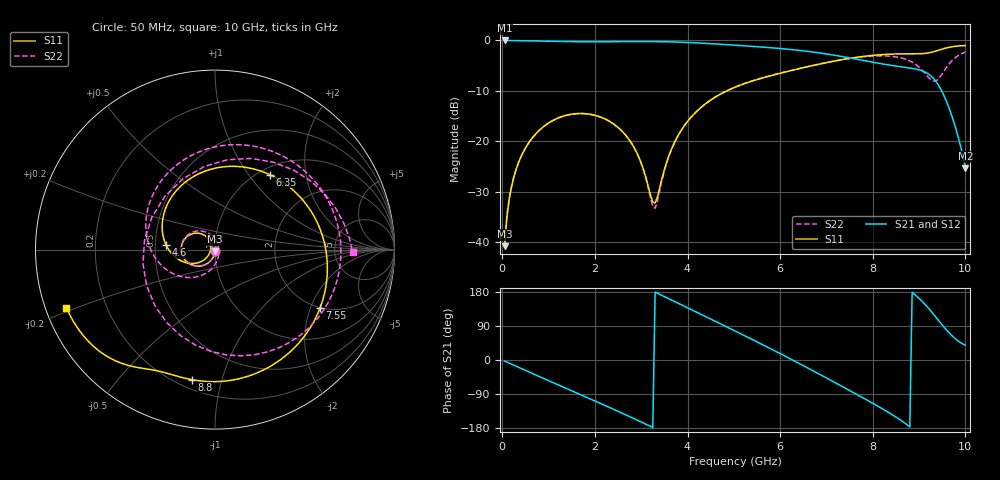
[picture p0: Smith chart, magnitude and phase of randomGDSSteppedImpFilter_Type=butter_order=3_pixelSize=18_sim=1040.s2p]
! freq	dB(S11)	phase(S11)	dB(S12)	phase(S12)
!  dB(S21)	phase(S21)	dB(S22)	phase(S22)
!S-par simulation data
#  GHz  S  DB  R 50
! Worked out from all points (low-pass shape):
!   200 points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, 50 MHz to 10 GHz, reference 50 ohm
!   highest |S21| = -0.01 dB at 50 MHz (marker M1); lowest = -25.3 dB at 10 GHz (marker M2)
!   |S21| within 3 dB of the highest: start of sweep to 7.216 GHz
!   lowest |S11| = -40.8 dB at 50 MHz (marker M3), VSWR 1.02, Z = 50 - j0.908 ohm
!   |S11| at or under -10 dB: start of sweep to 4.852 GHz
!   |S22| runs from -40.8 to -2.3 dB; largest |S21 - S12| = 0
!   S11 on the Smith chart (normalised r, x): 50 MHz: 1.00, -0.02; 4.6 GHz: 0.57, +0.03; 6.35 GHz: 1.11, +1.27; 7.55 GHz: 1.99, -2.34; 8.8 GHz: 0.25, -0.81; 10 GHz: 0.06, -0.19
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0.05  -40.83 -91.5  -0.01 -2.8  -0.01 -2.8  -40.83 -91.5
0.2  -28.98 -100.9  -0.02 -11.0  -0.02 -11.0  -28.97 -101.0
0.5  -21.36 -117.8  -0.07 -27.4  -0.07 -27.4  -21.36 -118.0
1.15  -15.62 -152.9  -0.19 -62.6  -0.19 -62.6  -15.62 -153.7
1.75  -14.52 175.6  -0.27 -94.6  -0.27 -94.6  -14.51 173.7
2.7  -19.22 129.1  -0.23 -146.6  -0.23 -146.6  -19.22 117.2
3.25  -32.09 159.3  -0.22 -178.0  -0.22 -178.0  -33.01 25.8
3.4  -29.21 -148.6  -0.24 173.3  -0.24 173.3  -29.75 -49.6
3.85  -18.05 -143.4  -0.35 146.8  -0.35 146.8  -18.08 -105.8
4.6  -11.25 174.5  -0.69 102.1  -0.69 102.1  -11.22 -152.0
5.05  -9.20 145.5  -0.96 75.2  -0.96 75.2  -9.16 -176.5
5.75  -7.12 97.2  -1.41 32.5  -1.41 32.5  -7.07 146.4
6.35  -5.73 54.0  -1.91 -5.2  -1.91 -5.2  -5.70 113.9
6.7  -4.99 28.9  -2.29 -27.8  -2.29 -27.8  -4.98 93.8
7.55  -3.48 -29.0  -3.55 -83.8  -3.55 -83.8  -3.52 39.8
8.35  -2.73 -76.9  -4.88 -139.1  -4.88 -139.1  -3.11 -21.0
8.8  -2.66 -100.1  -5.47 -176.3  -5.47 -176.3  -4.07 -69.3
9.05  -2.63 -110.8  -5.98 156.8  -5.98 156.8  -5.76 -112.1
9.3  -2.28 -120.3  -7.44 122.6  -7.44 122.6  -8.05 172.4
9.6  -1.46 -135.1  -12.29 78.1  -12.29 78.1  -5.25 68.3
9.8  -1.14 -146.9  -17.71 54.4  -17.71 54.4  -3.29 26.9
10  -1.02 -158.6  -25.35 39.2  -25.35 39.2  -2.30 -1.2
